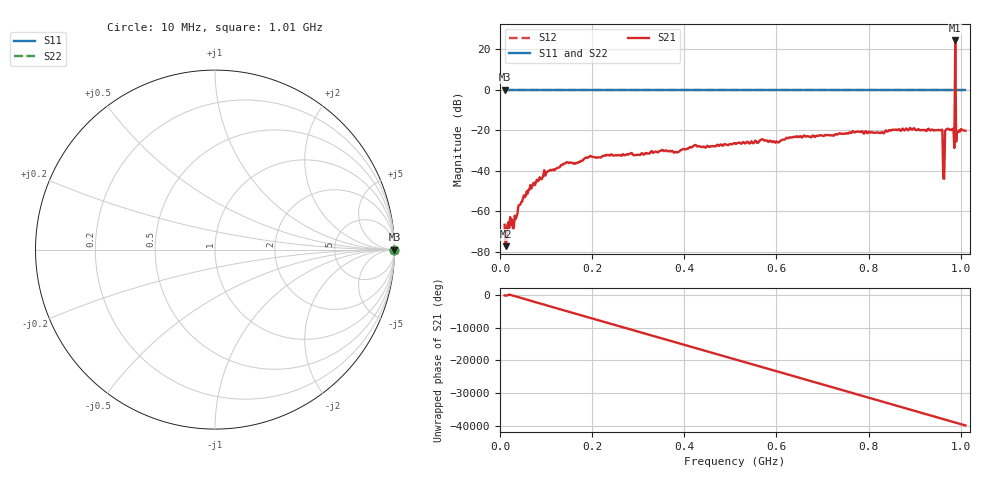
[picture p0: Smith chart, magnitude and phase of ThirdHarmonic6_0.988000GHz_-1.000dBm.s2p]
! 8/16/2025 7:46:49 AM
! C:\ANRITSUVNA\TEMP\TEMP.S2P
! CHANNEL.1
! TR.MEASUREMENT
! RAW.DATA
! RF.CORRECTION.OFF
! AVERAGING.OFF
! IF.BANDWIDTH: 5KHZ
! SWEEPTYPE:  FREQ.SWEEP(Linear)
! Reference Plane Port Info
! PORT:  PORT1  PORT2
! DISTANCE:  0  m  0  m
! TIME:  0  s  0  s
! PHASE.OFFSET:  0  deg.  0  deg.
! LOSS:  0  dB  0  dB
! REF.LOSS:  0  dB  0  dB
! REF.FREQ:  0  Hz  0  Hz
! Power Info
! POWER:  -20  dBm  -20  dBm
! EFF.POWER:  -20  dBm  -20  dBm
! SOURCE.ATTEN:  0  dB  0  dB
! TEST.ATTEN:  0  dB  0  dB
# GHZ S RI R 50.0
! FREQ.GHZ  S11RE  S11IM  S21RE  S21IM  S12RE  S12IM  S22RE  S22IM
!; PortSelection: Port_12
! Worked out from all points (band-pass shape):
!   501 points, 10 MHz to 1.01 GHz, reference 50 ohm
!   highest |S21| = 24.31 dB at 988 MHz (marker M1); lowest = -77.2 dB at 12 MHz (marker M2)
!   |S21| within 3 dB of the highest: 987.8868 MHz to 988.1203 MHz (233.4 kHz wide, 0.0236 % of centre)
!   lowest |S11| = 0.0 dB at 10 MHz (marker M3)
!   |S11| at or under -10 dB: nowhere
!   |S22| runs from 0.0 to 0.0 dB; largest |S21 - S12| = 16
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0.01  1 0  -0.000284 -0.000371  1 0  1 0
0.012  1 0  -0.000103 9.3e-05  1 0  1 0
0.032  1 0  0.000625 -0.00047  1 0  1 0
0.044  1 0  -0.000883 -0.00117  1 0  1 0
0.076  1 0  0.00443 -0.000291  1 0  1 0
0.142  1 0  -0.0147 -0.00416  1 0  1 0
0.178  1 0  -0.0176 -0.00121  1 0  1 0
0.344  1 0  0.0272 -0.0106  1 0  1 0
0.51  1 0  -0.0382 0.0288  1 0  1 0
0.678  1 0  -0.0551 -0.0484  1 0  1 0
0.844  1 0  0.1004 0.0101  1 0  1 0
0.956  1 0  -0.0933 0.0371  1 0  1 0
0.96  1 0  0.1025 -0.00745  1 0  1 0
0.962  1 0  0.00131 -0.00635  1 0  1 0
0.966  1 0  -0.0377 0.0895  1 0  1 0
0.97  1 0  0.0756 -0.0771  1 0  1 0
0.982  1 0  -0.1012 -0.0138  1 0  1 0
0.984  1 0  -0.037 0.1046  1 0  1 0
0.988  1 0  13.01 -10.02  1 0  1 0
0.992  1 0  -0.064 0.0627  1 0  1 0
0.994  1 0  0.0411 0.0811  1 0  1 0
1.01  1 0  -0.0685 0.0699  1 0  1 0
